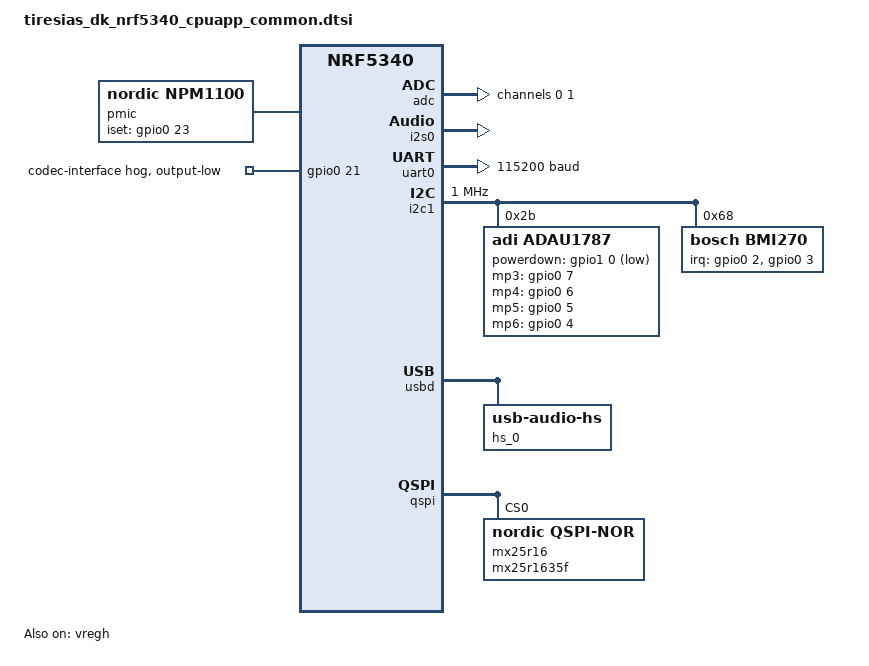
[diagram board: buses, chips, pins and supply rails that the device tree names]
/*
 * Copyright (c) 2020-2022 Nordic Semiconductor ASA
 *
 * SPDX-License-Identifier: Apache-2.0
 */
#include "tiresias_dk_nrf5340_cpuapp_common-pinctrl.dtsi"

/ {
  chosen {
    zephyr,console = &uart0;
    zephyr,shell-uart = &uart0;
    zephyr,uart-mcumgr = &uart0;
    zephyr,bt-mon-uart = &uart0;
    zephyr,bt-c2h-uart = &uart0;
    zephyr,bt-hci = &bt_hci_ipc0;
    watchdog0 = &wdt0;
  };

  pmic {
    compatible = "nordic,npm1100";
    nordic,iset-gpios = <&gpio0 23 GPIO_ACTIVE_HIGH>;
  };

};

&vregmain {
  regulator-initial-mode = <NRF5X_REG_MODE_DCDC>;
};

&vregradio {
  regulator-initial-mode = <NRF5X_REG_MODE_DCDC>;
};

&vregh {
  status = "okay";
};

&lfxo {
  load-capacitors = "internal";
  load-capacitance-picofarad = <7>;
};

&adc {
  status = "okay";
  #address-cells = <1>;
  #size-cells = <0>;

  channel@0 {
    reg = <0>;
    zephyr,gain = "ADC_GAIN_1_4";
    zephyr,reference = "ADC_REF_VDD_1_4";
    zephyr,acquisition-time = <ADC_ACQ_TIME(ADC_ACQ_TIME_MICROSECONDS, 40)>;
    zephyr,input-positive = <NRF_SAADC_AIN6>;
    zephyr,resolution = <12>;
    zephyr,oversampling = <8>;
  };

  /* BAT_MON on P0.28 (AIN4) */
  channel@1 {
    reg = <1>;
    zephyr,gain = "ADC_GAIN_1_4";
    zephyr,reference = "ADC_REF_VDD_1_4";
    zephyr,acquisition-time = <ADC_ACQ_TIME(ADC_ACQ_TIME_MICROSECONDS, 40)>;
    zephyr,input-positive = <NRF_SAADC_AIN4>;
    zephyr,resolution = <12>;
    zephyr,oversampling = <8>;
  };
};

&gpiote {
  status = "okay";
};

&gpio0 {
  status = "okay";

  codec-interface {
    gpio-hog;
    gpios = <21 GPIO_ACTIVE_HIGH>;
    /* low output to select on-board codec control */
    output-low;
  };
};

&gpio1 {
  status = "okay";
};

&i2s0 {
  compatible = "nordic,nrf-i2s";
  status = "okay";
  pinctrl-0 = <&i2s0_default>;
  pinctrl-1 = <&i2s0_sleep>;
  pinctrl-names = "default", "sleep";
};

&uart0 {
  status = "okay";
  current-speed = <115200>;
  pinctrl-0 = <&uart0_default>;
  pinctrl-1 = <&uart0_sleep>;
  pinctrl-names = "default", "sleep";
};

&i2c1 {
  status = "okay";
  compatible = "nordic,nrf-twim";
  label = "I2C_1";
  pinctrl-0 = <&i2c1_default>;
  pinctrl-1 = <&i2c1_sleep>;
  pinctrl-names = "default", "sleep";
  clock-frequency = <I2C_BITRATE_FAST_PLUS>;
  zephyr,concat-buf-size = <4092>;
  zephyr,flash-buf-max-size = <4092>;

  adau_1787: adau_1787@2B {
    compatible = "adi,adau1787", "i2c-device";
    status = "okay";
    reg = <0x2B>;
    label = "adau1787";
    powerdown-gpios = <&gpio1 0 GPIO_ACTIVE_LOW>;
    mp3-gpios = <&gpio0 7 GPIO_ACTIVE_HIGH>;
    mp4-gpios = <&gpio0 6 GPIO_ACTIVE_HIGH>;
    mp5-gpios = <&gpio0 5 GPIO_ACTIVE_HIGH>;
    mp6-gpios = <&gpio0 4 GPIO_ACTIVE_HIGH>;
  };

  bmi270: bmi270@68 {
    compatible = "bosch,bmi270";
    status = "okay";
    reg = <0x68>;
    label = "bmi270";
    irq-gpios = <&gpio0 2 GPIO_ACTIVE_HIGH>, <&gpio0 3 GPIO_ACTIVE_HIGH>;
  };
};

zephyr_udc0: &usbd {
  compatible = "nordic,nrf-usbd";
  status = "okay";

  hs_0: hs_0 {
    compatible = "usb-audio-hs";
    mic-feature-mute;
    mic-channel-l;
    mic-channel-r;

    hp-feature-mute;
    hp-channel-l;
    hp-channel-r;
  };
};

&qspi {
  status = "okay";
  pinctrl-0 = <&qspi_default>;
  pinctrl-1 = <&qspi_sleep>;
  pinctrl-names = "default", "sleep";

  mx25r16: mx25r1635f@0 {
    compatible = "nordic,qspi-nor";
    reg = <0>;
    /* Supports only pp and pp4io */
    writeoc = "pp4io";
    /* Supports all readoc options */
    readoc = "read4io";
    sck-frequency = <8000000>;
    /* Manufacturer ID: c2, Memory type: 28, Memory density: 15 */
    jedec-id = [ c2 28 15  ];
    /* JEDEC Flash Parameter Tables */
    sfdp-bfp = [
    ];
    /* 16 Mbit */
    size = <16777216>;
    /* Supports Deep Power-Down */
    has-dpd;
    /* Time to enter DPD: 10000 ns */
    t-enter-dpd = <10000>;
    /* Time to exit DPD: 45000 ns */
    t-exit-dpd = <45000>;
  };
};

#include "tiresias_dk_nrf5340_shared.dtsi"
